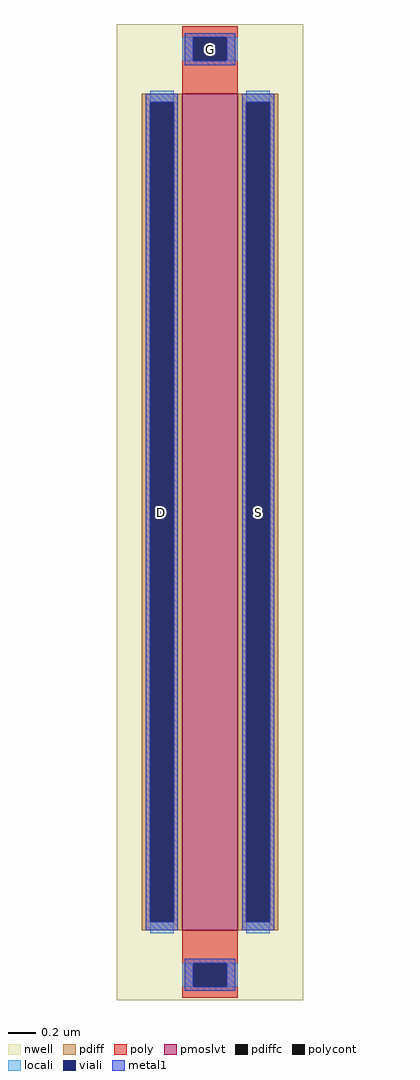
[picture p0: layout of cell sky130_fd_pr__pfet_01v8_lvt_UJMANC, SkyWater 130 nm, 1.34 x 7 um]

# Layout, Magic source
magic
tech sky130A
magscale 1 2
<< nwell >>
rect -134 -700 134 700
<< pmoslvt >>
rect -40 -600 40 600
<< pdiff >>
rect -98 588 -40 600
rect -98 -588 -86 588
rect -52 -588 -40 588
rect -98 -600 -40 -588
rect 40 588 98 600
rect 40 -588 52 588
rect 86 -588 98 588
rect 40 -600 98 -588
<< pdiffc >>
rect -86 -588 -52 588
rect 52 -588 86 588
<< poly >>
rect -40 681 40 697
rect -40 647 -24 681
rect 24 647 40 681
rect -40 600 40 647
rect -40 -647 40 -600
rect -40 -681 -24 -647
rect 24 -681 40 -647
rect -40 -697 40 -681
<< polycont >>
rect -24 647 24 681
rect -24 -681 24 -647
<< locali >>
rect -40 647 -24 681
rect 24 647 40 681
rect -86 588 -52 604
rect -86 -604 -52 -588
rect 52 588 86 604
rect 52 -604 86 -588
rect -40 -681 -24 -647
rect 24 -681 40 -647
<< viali >>
rect -24 647 24 681
rect -86 -588 -52 588
rect 52 -588 86 588
rect -24 -681 24 -647
<< metal1 >>
rect -36 681 36 687
rect -36 647 -24 681
rect 24 647 36 681
rect -36 641 36 647
rect -92 588 -46 600
rect -92 -588 -86 588
rect -52 -588 -46 588
rect -92 -600 -46 -588
rect 46 588 92 600
rect 46 -588 52 588
rect 86 -588 92 588
rect 46 -600 92 -588
rect -36 -647 36 -641
rect -36 -681 -24 -647
rect 24 -681 36 -647
rect -36 -687 36 -681
<< labels >>
rlabel pdiffc -69 0 -69 0 0 D
port 1 nsew
rlabel pdiffc 69 0 69 0 0 S
port 2 nsew
rlabel polycont 0 664 0 664 0 G
port 3 nsew
<< properties >>
string gencell sky130_fd_pr__pfet_01v8_lvt
string library sky130
string parameters w 6.0 l 0.4 m 1 nf 1 diffcov 100 polycov 100 guard 0 glc 0 grc 0 gtc 0 gbc 0 tbcov 100 rlcov 100 topc 1 botc 1 poverlap 0 doverlap 1 lmin 0.35 wmin 0.42 class mosfet compatible {sky130_fd_pr__pfet_01v8  sky130_fd_pr__pfet_01v8_lvt sky130_fd_pr__pfet_01v8_hvt  sky130_fd_pr__pfet_g5v0d10v5} full_metal 0 conn_gates 0 viasrc 100 viadrn 100 viagate 100 viagb 0 viagr 0 viagl 0 viagt 0 doports 1
<< end >>
